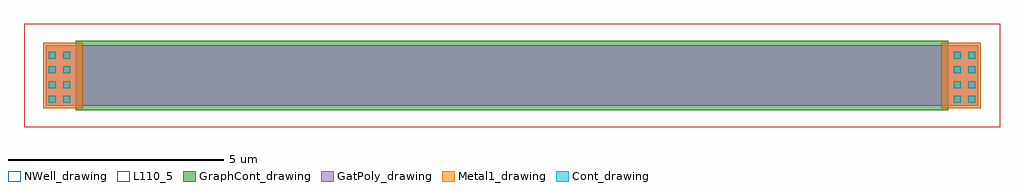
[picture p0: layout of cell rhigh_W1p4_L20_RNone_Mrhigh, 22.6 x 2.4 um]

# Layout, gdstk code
import gdstk
lib = gdstk.Library(unit=1e-6, precision=1e-09)
def R(c, l, rs):  # rectangles x0, y0, x1, y1
    for r in rs: c.add(gdstk.rectangle(r[:2], r[2:], *l))
GatPoly_drawing = (5, 0)
Cont_drawing = (6, 0)
Metal1_drawing = (8, 0)
NWell_drawing = (31, 0)
GraphCont_drawing = (85, 0)
L110_5 = (110, 5)

rectangle_gdsfactorypcom = lib.new_cell('rectangle_gdsfactorypcomponentspshapesprectangle_S22p6__8eadc250')
R(rectangle_gdsfactorypcom, NWell_drawing, [(-11.3,-1.2,11.3,1.2)])

c_rectangle_gdsfactorypcom = lib.new_cell('rectangle_gdsfactorypcomponentspshapesprectangle_S20_1p_fd48df3f')
R(c_rectangle_gdsfactorypcom, GatPoly_drawing, [(-10,-0.7,10,0.7)])

c_rectangle_gdsfactorypcom_ = lib.new_cell('rectangle_gdsfactorypcomponentspshapesprectangle_S20p2__e1dda1fe')
R(c_rectangle_gdsfactorypcom_, GraphCont_drawing, [(-10.1,-0.8,10.1,0.8)])

c_rectangle_gdsfactorypcom__ = lib.new_cell('rectangle_gdsfactorypcomponentspshapesprectangle_S0p8_1_4c226fba')
R(c_rectangle_gdsfactorypcom__, GatPoly_drawing, [(0,0,0.8,1.4)])

c_rectangle_gdsfactorypcom___ = lib.new_cell('rectangle_gdsfactorypcomponentspshapesprectangle_S0p16__69e6ae0d')
R(c_rectangle_gdsfactorypcom___, Cont_drawing, [(0,0,0.16,0.16)])

c_rectangle_gdsfactorypcom____ = lib.new_cell('rectangle_gdsfactorypcomponentspshapesprectangle_S0p92__6d21b0d9')
R(c_rectangle_gdsfactorypcom____, Metal1_drawing, [(0,0,0.92,1.52)])

c_rectangle_gdsfactorypcom_____ = lib.new_cell('rectangle_gdsfactorypcomponentspshapesprectangle_S22p6__0ec4a06c')
R(c_rectangle_gdsfactorypcom_____, L110_5, [(-11.3,-1.2,11.3,1.2)])

rhigh_w1p4_l20_rnone_mrh = lib.new_cell('rhigh_W1p4_L20_RNone_Mrhigh')
rhigh_w1p4_l20_rnone_mrh.add(gdstk.Reference(rectangle_gdsfactorypcom, (0,0)))
rhigh_w1p4_l20_rnone_mrh.add(gdstk.Reference(c_rectangle_gdsfactorypcom, (0,0)))
rhigh_w1p4_l20_rnone_mrh.add(gdstk.Reference(c_rectangle_gdsfactorypcom_, (0,0)))
rhigh_w1p4_l20_rnone_mrh.add(gdstk.Reference(c_rectangle_gdsfactorypcom__, (-10.8,-0.7)))
rhigh_w1p4_l20_rnone_mrh.add(gdstk.Reference(c_rectangle_gdsfactorypcom__, (10,-0.7)))
rhigh_w1p4_l20_rnone_mrh.add(gdstk.Reference(c_rectangle_gdsfactorypcom___, (-10.73,-0.63)))
rhigh_w1p4_l20_rnone_mrh.add(gdstk.Reference(c_rectangle_gdsfactorypcom___, (10.57,-0.63)))
rhigh_w1p4_l20_rnone_mrh.add(gdstk.Reference(c_rectangle_gdsfactorypcom___, (-10.73,-0.29)))
rhigh_w1p4_l20_rnone_mrh.add(gdstk.Reference(c_rectangle_gdsfactorypcom___, (10.57,-0.29)))
rhigh_w1p4_l20_rnone_mrh.add(gdstk.Reference(c_rectangle_gdsfactorypcom___, (-10.73,0.05)))
rhigh_w1p4_l20_rnone_mrh.add(gdstk.Reference(c_rectangle_gdsfactorypcom___, (10.57,0.05)))
rhigh_w1p4_l20_rnone_mrh.add(gdstk.Reference(c_rectangle_gdsfactorypcom___, (-10.73,0.39)))
rhigh_w1p4_l20_rnone_mrh.add(gdstk.Reference(c_rectangle_gdsfactorypcom___, (10.57,0.39)))
rhigh_w1p4_l20_rnone_mrh.add(gdstk.Reference(c_rectangle_gdsfactorypcom___, (-10.39,-0.63)))
rhigh_w1p4_l20_rnone_mrh.add(gdstk.Reference(c_rectangle_gdsfactorypcom___, (10.23,-0.63)))
rhigh_w1p4_l20_rnone_mrh.add(gdstk.Reference(c_rectangle_gdsfactorypcom___, (-10.39,-0.29)))
rhigh_w1p4_l20_rnone_mrh.add(gdstk.Reference(c_rectangle_gdsfactorypcom___, (10.23,-0.29)))
rhigh_w1p4_l20_rnone_mrh.add(gdstk.Reference(c_rectangle_gdsfactorypcom___, (-10.39,0.05)))
rhigh_w1p4_l20_rnone_mrh.add(gdstk.Reference(c_rectangle_gdsfactorypcom___, (10.23,0.05)))
rhigh_w1p4_l20_rnone_mrh.add(gdstk.Reference(c_rectangle_gdsfactorypcom___, (-10.39,0.39)))
rhigh_w1p4_l20_rnone_mrh.add(gdstk.Reference(c_rectangle_gdsfactorypcom___, (10.23,0.39)))
rhigh_w1p4_l20_rnone_mrh.add(gdstk.Reference(c_rectangle_gdsfactorypcom____, (-10.86,-0.76)))
rhigh_w1p4_l20_rnone_mrh.add(gdstk.Reference(c_rectangle_gdsfactorypcom____, (9.94,-0.76)))
rhigh_w1p4_l20_rnone_mrh.add(gdstk.Reference(c_rectangle_gdsfactorypcom_____, (0,0)))

lib.write_gds('rhigh_W1p4_L20_RNone_Mrhigh.gds')
